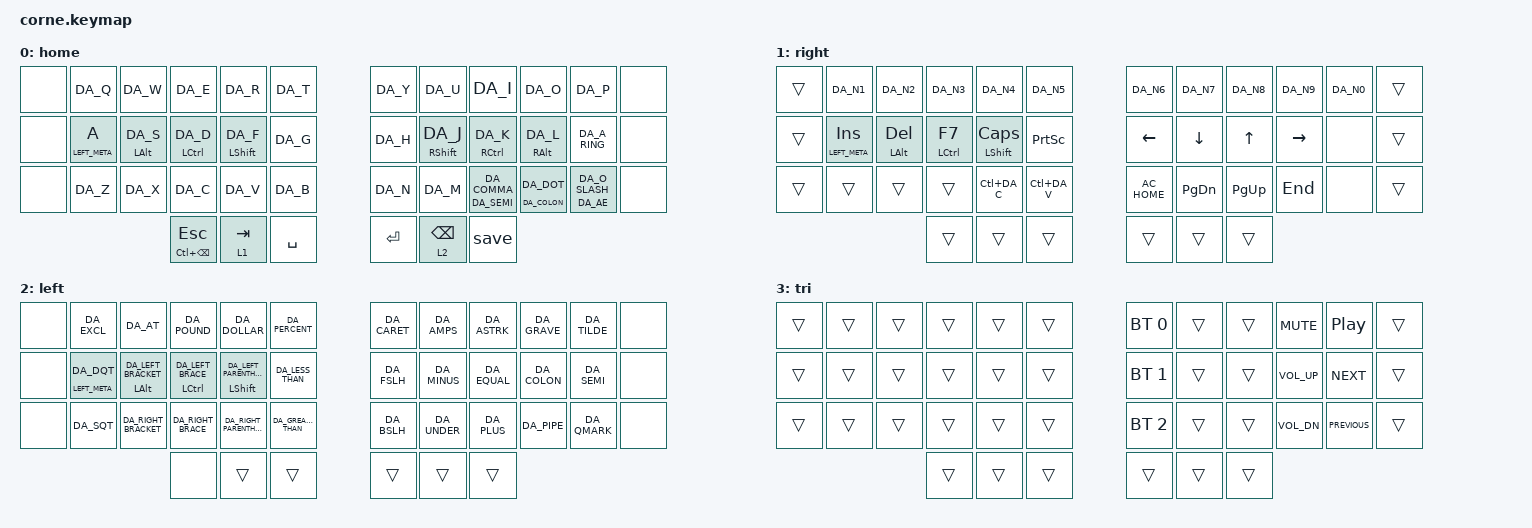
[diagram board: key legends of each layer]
/*
 * Copyright (c) 2020 The ZMK Contributors
 *
 * SPDX-License-Identifier: MIT
 */

#include "keys_da.h"
#include <behaviors.dtsi>
#include <dt-bindings/zmk/bt.h>
#include <dt-bindings/zmk/keys.h>

/ {
    behaviors {
        hm: homerow_mods {
            compatible = "zmk,behavior-hold-tap";
            label = "HOMEROW_MODS";
            bindings = <&kp>, <&kp>;

            #binding-cells = <2>;
            tapping-term-ms = <200>;
            flavor = "tap-preferred";
            require-prior-idle-ms = <125>;
            quick-tap-ms = <200>;
        };

        shifthr: shifthr {
            compatible = "zmk,behavior-hold-tap";
            label = "SHIFTHR";
            bindings = <&kp>, <&kp>;

            #binding-cells = <2>;
            tapping-term-ms = <185>;
            flavor = "tap-preferred";
            quick-tap-ms = <185>;
        };

        weak: weak {
            compatible = "zmk,behavior-hold-tap";
            label = "WEAK";
            bindings = <&kp>, <&kp>;

            #binding-cells = <2>;
            tapping-term-ms = <230>;
            flavor = "tap-preferred";
            require-prior-idle-ms = <125>;
            quick-tap-ms = <230>;
        };

        backspace: backspace {
            compatible = "zmk,behavior-tap-dance";
            label = "BACKSPACE";
            #binding-cells = <0>;
            bindings = <&kp BACKSPACE>, <&kp LC(BACKSPACE)>;
        };
    };

    combos {
        compatible = "zmk,combos";

        caps {
            bindings = <&kp CAPS>;
            key-positions = <16 19>;
        };

        jk_fix {
            bindings = <&kp ESCAPE>;
            key-positions = <31 32>;
        };

        under {
            bindings = <&kp UNDER>;
            key-positions = <28 31>;
        };

        dash {
            bindings = <&kp MINUS>;
            key-positions = <4 7>;
        };
    };

    macros {
        save: save {
            compatible = "zmk,behavior-macro";
            #binding-cells = <0>;
            bindings = <&macro_tap>, <&kp ESCAPE &kp COLON &kp W &kp ENTER>;

            label = "SAVE";
        };

        email: email {
            compatible = "zmk,behavior-macro";
            #binding-cells = <0>;
            bindings = <&none &kp J &kp O &kp S &kp H &kp AT &kp J &kp O &kp S &kp H &kp B &kp L &kp A &kp I &kp S &kp DOT &kp C &kp O &kp M>;
            label = "EMAIL";
        };
    };

    keymap {
        compatible = "zmk,keymap";

        home {
            // -----------------------------------------------------------------------------------------
            // |  TAB |  Q  |  W  |  E  |  R  |  T  |   |  Y  |  U   |  I  |  O  |  P  | BKSP |
            // | CTRL |  A  |  S  |  D  |  F  |  G  |   |  H  |  J   |  K  |  L  |  ;  |  '   |
            // | SHFT |  Z  |  X  |  C  |  V  |  B  |   |  N  |  M   |  ,  |  .  |  /  | ESC  |
            //                    | GUI | LWR | SPC |   | ENT | RSE  | ALT |

            bindings = <
&none  &kp DA_Q           &kp DA_W             &kp DA_E                    &kp DA_R                  &kp DA_T     &kp DA_Y   &kp DA_U              &kp DA_I              &kp DA_O              &kp DA_P              &none
&none  &weak LEFT_META A  &weak LEFT_ALT DA_S  &shifthr LEFT_CONTROL DA_D  &shifthr LEFT_SHIFT DA_F  &kp DA_G     &kp DA_H   &shifthr RSHIFT DA_J  &shifthr RCTRL DA_K   &weak RIGHT_ALT DA_L  &kp DA_A_RING         &none
&none  &kp DA_Z           &kp DA_X             &kp DA_C                    &kp DA_V                  &kp DA_B     &kp DA_N   &kp DA_M              &hm DA_SEMI DA_COMMA  &hm DA_COLON DA_DOT   &hm DA_AE DA_O_SLASH  &none
                                               &hm LC(BACKSPACE) ESCAPE    &lt 1 TAB                 &kp SPACE    &kp ENTER  &lt 2 BACKSPACE       &save
            >;

            label = "home";
        };

        right {
            bindings = <
&trans  &kp DA_N1             &kp DA_N2         &kp DA_N3     &kp DA_N4                &kp DA_N5          &kp DA_N6       &kp DA_N7  &kp DA_N8     &kp DA_N9  &kp DA_N0  &trans
&trans  &hm LEFT_META INSERT  &hm LEFT_ALT DEL  &hm LCTRL F7  &hm LEFT_SHIFT CAPSLOCK  &kp PRINTSCREEN    &kp LEFT_ARROW  &kp DOWN   &kp UP_ARROW  &kp RIGHT  &none      &trans
&trans  &trans                &trans            &trans        &kp LC(DA_C)             &kp LC(DA_V)       &kp C_AC_HOME   &kp PG_DN  &kp PG_UP     &kp END    &none      &trans
                                                &trans        &trans                   &trans             &trans          &trans     &trans
            >;

            label = "right";
        };

        left {
            // -----------------------------------------------------------------------------------------
            // |  TAB |  !  |  @  |  #  |  $  |  %  |   |  ^  |  &  |  *  |  (  |  )  | BKSP |
            // | CTRL |     |     |     |     |     |   |  -  |  =  |  [  |  ]  |  \  |  `   |
            // | SHFT |     |     |     |     |     |   |  _  |  +  |  {  |  }  | "|" |  ~   |
            //                    | GUI |     | SPC |   | ENT |     | ALT |

            bindings = <
&none  &kp DA_EXCL           &kp DA_AT                     &kp DA_POUND             &kp DA_DOLLAR                       &kp DA_PERCENT         &kp DA_CARET  &kp DA_AMPS   &kp DA_ASTRK  &kp DA_GRAVE  &kp DA_TILDE  &none
&none  &hm LEFT_META DA_DQT  &hm LEFT_ALT DA_LEFT_BRACKET  &hm LCTRL DA_LEFT_BRACE  &hm LEFT_SHIFT DA_LEFT_PARENTHESIS  &kp DA_LESS_THAN       &kp DA_FSLH   &kp DA_MINUS  &kp DA_EQUAL  &kp DA_COLON  &kp DA_SEMI   &none
&none  &kp DA_SQT            &kp DA_RIGHT_BRACKET          &kp DA_RIGHT_BRACE       &kp DA_RIGHT_PARENTHESIS            &kp DA_GREATER_THAN    &kp DA_BSLH   &kp DA_UNDER  &kp DA_PLUS   &kp DA_PIPE   &kp DA_QMARK  &none
                                                           &none                    &trans                              &trans                 &trans        &trans        &trans
            >;

            label = "left";
        };

        tri {
            bindings = <
&trans  &trans  &trans  &trans  &trans  &trans    &bt BT_SEL 0  &trans  &trans  &kp C_MUTE    &kp C_PP        &trans
&trans  &trans  &trans  &trans  &trans  &trans    &bt BT_SEL 1  &trans  &trans  &kp C_VOL_UP  &kp C_NEXT      &trans
&trans  &trans  &trans  &trans  &trans  &trans    &bt BT_SEL 2  &trans  &trans  &kp C_VOL_DN  &kp C_PREVIOUS  &trans
                        &trans  &trans  &trans    &trans        &trans  &trans
            >;

            label = "tri";
        };
    };

    conditional_layers {
        compatible = "zmk,conditional-layers";

        tri_layer {
            if-layers = <1 2>;
            then-layer = <3>;
        };
    };
};
